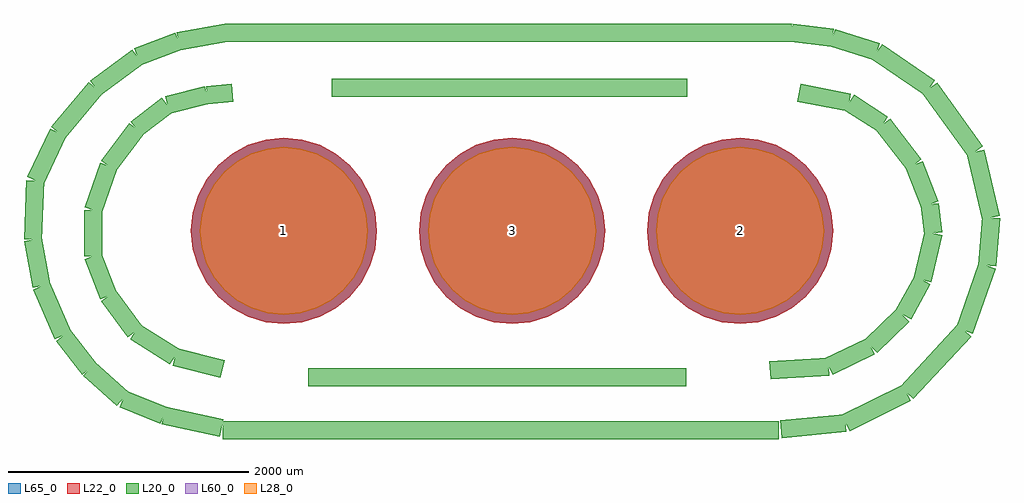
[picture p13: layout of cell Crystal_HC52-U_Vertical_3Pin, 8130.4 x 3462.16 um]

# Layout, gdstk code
import gdstk
lib = gdstk.Library(unit=1e-6, precision=1e-09)
def P(c, l, *ps):  # polygons
    for p in ps: c.add(gdstk.Polygon(p, *l))
L20_0 = (20, 0)
L22_0 = (22, 0)
L28_0 = (28, 0)
L60_0 = (60, 0)
L65_0 = (65, 0)

crystal_hc52_u_vertical_ = lib.new_cell('Crystal_HC52-U_Vertical_3Pin')
P(crystal_hc52_u_vertical_, L22_0, [(774.77,0),(759.883,151.15),(715.794,296.492),(644.198,430.439),(547.845,547.845),(430.439,644.198),(296.492,715.794),(151.15,759.883),(0,774.77),(-151.15,759.883),(-296.492,715.794),(-430.439,644.198),(-547.845,547.845),(-644.198,430.439),(-715.794,296.492),(-759.883,151.15),(-774.77,0),(-759.883,-151.15),(-715.794,-296.492),(-644.198,-430.439),(-547.845,-547.845),(-430.439,-644.198),(-296.492,-715.794),(-151.15,-759.883),(0,-774.77),(151.15,-759.883),(296.492,-715.794),(430.439,-644.198),(547.845,-547.845),(644.198,-430.439),(715.794,-296.492),(759.883,-151.15)],
  [(2674.69,0),(2659.803,151.15),(2615.714,296.492),(2544.118,430.439),(2447.765,547.845),(2330.359,644.198),(2196.412,715.794),(2051.07,759.883),(1899.92,774.77),(1748.77,759.883),(1603.428,715.794),(1469.481,644.198),(1352.075,547.845),(1255.722,430.439),(1184.126,296.492),(1140.037,151.15),(1125.15,0),(1140.037,-151.15),(1184.126,-296.492),(1255.722,-430.439),(1352.075,-547.845),(1469.481,-644.198),(1603.428,-715.794),(1748.77,-759.883),(1899.92,-774.77),(2051.07,-759.883),(2196.412,-715.794),(2330.359,-644.198),(2447.765,-547.845),(2544.118,-430.439),(2615.714,-296.492),(2659.803,-151.15)],
  [(-1125.15,0),(-1140.037,151.15),(-1184.126,296.492),(-1255.722,430.439),(-1352.075,547.845),(-1469.481,644.198),(-1603.428,715.794),(-1748.77,759.883),(-1899.92,774.77),(-2051.07,759.883),(-2196.412,715.794),(-2330.359,644.198),(-2447.765,547.845),(-2544.118,430.439),(-2615.714,296.492),(-2659.803,151.15),(-2674.69,0),(-2659.803,-151.15),(-2615.714,-296.492),(-2544.118,-430.439),(-2447.765,-547.845),(-2330.359,-644.198),(-2196.412,-715.794),(-2051.07,-759.883),(-1899.92,-774.77),(-1748.77,-759.883),(-1603.428,-715.794),(-1469.481,-644.198),(-1352.075,-547.845),(-1255.722,-430.439),(-1184.126,-296.492),(-1140.037,-151.15)])
P(crystal_hc52_u_vertical_, L28_0, [(699.77,0),(686.324,136.518),(646.503,267.79),(581.837,388.771),(494.812,494.812),(388.771,581.837),(267.79,646.503),(136.518,686.324),(0,699.77),(-136.518,686.324),(-267.79,646.503),(-388.771,581.837),(-494.812,494.812),(-581.837,388.771),(-646.503,267.79),(-686.324,136.518),(-699.77,0),(-686.324,-136.518),(-646.503,-267.79),(-581.837,-388.771),(-494.812,-494.812),(-388.771,-581.837),(-267.79,-646.503),(-136.518,-686.324),(0,-699.77),(136.518,-686.324),(267.79,-646.503),(388.771,-581.837),(494.812,-494.812),(581.837,-388.771),(646.503,-267.79),(686.324,-136.518)],
  [(2599.69,0),(2586.244,136.518),(2546.423,267.79),(2481.757,388.771),(2394.732,494.812),(2288.691,581.837),(2167.71,646.503),(2036.438,686.324),(1899.92,699.77),(1763.402,686.324),(1632.13,646.503),(1511.149,581.837),(1405.108,494.812),(1318.083,388.771),(1253.417,267.79),(1213.596,136.518),(1200.15,0),(1213.596,-136.518),(1253.417,-267.79),(1318.083,-388.771),(1405.108,-494.812),(1511.149,-581.837),(1632.13,-646.503),(1763.402,-686.324),(1899.92,-699.77),(2036.438,-686.324),(2167.71,-646.503),(2288.691,-581.837),(2394.732,-494.812),(2481.757,-388.771),(2546.423,-267.79),(2586.244,-136.518)],
  [(-1200.15,0),(-1213.596,136.518),(-1253.417,267.79),(-1318.083,388.771),(-1405.108,494.812),(-1511.149,581.837),(-1632.13,646.503),(-1763.402,686.324),(-1899.92,699.77),(-2036.438,686.324),(-2167.71,646.503),(-2288.691,581.837),(-2394.732,494.812),(-2481.757,388.771),(-2546.423,267.79),(-2586.244,136.518),(-2599.69,0),(-2586.244,-136.518),(-2546.423,-267.79),(-2481.757,-388.771),(-2394.732,-494.812),(-2288.691,-581.837),(-2167.71,-646.503),(-2036.438,-686.324),(-1899.92,-699.77),(-1763.402,-686.324),(-1632.13,-646.503),(-1511.149,-581.837),(-1405.108,-494.812),(-1318.083,-388.771),(-1253.417,-267.79),(-1213.596,-136.518)])
P(crystal_hc52_u_vertical_, L60_0, [(699.77,0),(686.324,136.518),(646.503,267.79),(581.837,388.771),(494.812,494.812),(388.771,581.837),(267.79,646.503),(136.518,686.324),(0,699.77),(-136.518,686.324),(-267.79,646.503),(-388.771,581.837),(-494.812,494.812),(-581.837,388.771),(-646.503,267.79),(-686.324,136.518),(-699.77,0),(-686.324,-136.518),(-646.503,-267.79),(-581.837,-388.771),(-494.812,-494.812),(-388.771,-581.837),(-267.79,-646.503),(-136.518,-686.324),(0,-699.77),(136.518,-686.324),(267.79,-646.503),(388.771,-581.837),(494.812,-494.812),(581.837,-388.771),(646.503,-267.79),(686.324,-136.518)],
  [(2599.69,0),(2586.244,136.518),(2546.423,267.79),(2481.757,388.771),(2394.732,494.812),(2288.691,581.837),(2167.71,646.503),(2036.438,686.324),(1899.92,699.77),(1763.402,686.324),(1632.13,646.503),(1511.149,581.837),(1405.108,494.812),(1318.083,388.771),(1253.417,267.79),(1213.596,136.518),(1200.15,0),(1213.596,-136.518),(1253.417,-267.79),(1318.083,-388.771),(1405.108,-494.812),(1511.149,-581.837),(1632.13,-646.503),(1763.402,-686.324),(1899.92,-699.77),(2036.438,-686.324),(2167.71,-646.503),(2288.691,-581.837),(2394.732,-494.812),(2481.757,-388.771),(2546.423,-267.79),(2586.244,-136.518)],
  [(-1200.15,0),(-1213.596,136.518),(-1253.417,267.79),(-1318.083,388.771),(-1405.108,494.812),(-1511.149,581.837),(-1632.13,646.503),(-1763.402,686.324),(-1899.92,699.77),(-2036.438,686.324),(-2167.71,646.503),(-2288.691,581.837),(-2394.732,494.812),(-2481.757,388.771),(-2546.423,267.79),(-2586.244,136.518),(-2599.69,0),(-2586.244,-136.518),(-2546.423,-267.79),(-2481.757,-388.771),(-2394.732,-494.812),(-2288.691,-581.837),(-2167.71,-646.503),(-2036.438,-686.324),(-1899.92,-699.77),(-1763.402,-686.324),(-1632.13,-646.503),(-1511.149,-581.837),(-1405.108,-494.812),(-1318.083,-388.771),(-1253.417,-267.79),(-1213.596,-136.518)])
P(crystal_hc52_u_vertical_, L65_0, [(774.77,0),(759.883,151.15),(715.794,296.492),(644.198,430.439),(547.845,547.845),(430.439,644.198),(296.492,715.794),(151.15,759.883),(0,774.77),(-151.15,759.883),(-296.492,715.794),(-430.439,644.198),(-547.845,547.845),(-644.198,430.439),(-715.794,296.492),(-759.883,151.15),(-774.77,0),(-759.883,-151.15),(-715.794,-296.492),(-644.198,-430.439),(-547.845,-547.845),(-430.439,-644.198),(-296.492,-715.794),(-151.15,-759.883),(0,-774.77),(151.15,-759.883),(296.492,-715.794),(430.439,-644.198),(547.845,-547.845),(644.198,-430.439),(715.794,-296.492),(759.883,-151.15)],
  [(2674.69,0),(2659.803,151.15),(2615.714,296.492),(2544.118,430.439),(2447.765,547.845),(2330.359,644.198),(2196.412,715.794),(2051.07,759.883),(1899.92,774.77),(1748.77,759.883),(1603.428,715.794),(1469.481,644.198),(1352.075,547.845),(1255.722,430.439),(1184.126,296.492),(1140.037,151.15),(1125.15,0),(1140.037,-151.15),(1184.126,-296.492),(1255.722,-430.439),(1352.075,-547.845),(1469.481,-644.198),(1603.428,-715.794),(1748.77,-759.883),(1899.92,-774.77),(2051.07,-759.883),(2196.412,-715.794),(2330.359,-644.198),(2447.765,-547.845),(2544.118,-430.439),(2615.714,-296.492),(2659.803,-151.15)],
  [(-1125.15,0),(-1140.037,151.15),(-1184.126,296.492),(-1255.722,430.439),(-1352.075,547.845),(-1469.481,644.198),(-1603.428,715.794),(-1748.77,759.883),(-1899.92,774.77),(-2051.07,759.883),(-2196.412,715.794),(-2330.359,644.198),(-2447.765,547.845),(-2544.118,430.439),(-2615.714,296.492),(-2659.803,151.15),(-2674.69,0),(-2659.803,-151.15),(-2615.714,-296.492),(-2544.118,-430.439),(-2447.765,-547.845),(-2330.359,-644.198),(-2196.412,-715.794),(-2051.07,-759.883),(-1899.92,-774.77),(-1748.77,-759.883),(-1603.428,-715.794),(-1469.481,-644.198),(-1352.075,-547.845),(-1255.722,-430.439),(-1184.126,-296.492),(-1140.037,-151.15)])
crystal_hc52_u_vertical_.add(gdstk.FlexPath([(-2778.76,1579.88),(-2379.98,1651)], 149.998, ends="flush", simple_path=True, layer=20, datatype=0))  # L20_0
crystal_hc52_u_vertical_.add(gdstk.FlexPath([(-3119.12,1450.34),(-2778.76,1579.88)], 149.998, ends="flush", simple_path=True, layer=20, datatype=0))  # L20_0
crystal_hc52_u_vertical_.add(gdstk.FlexPath([(-3469.64,1191.26),(-3119.12,1450.34)], 149.998, ends="flush", simple_path=True, layer=20, datatype=0))  # L20_0
crystal_hc52_u_vertical_.add(gdstk.FlexPath([(-3779.52,820.42),(-3469.64,1191.26)], 149.998, ends="flush", simple_path=True, layer=20, datatype=0))  # L20_0
crystal_hc52_u_vertical_.add(gdstk.FlexPath([(-3970.02,419.1),(-3779.52,820.42)], 149.998, ends="flush", simple_path=True, layer=20, datatype=0))  # L20_0
crystal_hc52_u_vertical_.add(gdstk.FlexPath([(-3990.34,-71.12),(-3970.02,419.1)], 149.998, ends="flush", simple_path=True, layer=20, datatype=0))  # L20_0
crystal_hc52_u_vertical_.add(gdstk.FlexPath([(-3919.22,-459.74),(-3990.34,-71.12)], 149.998, ends="flush", simple_path=True, layer=20, datatype=0))  # L20_0
crystal_hc52_u_vertical_.add(gdstk.FlexPath([(-3738.88,-871.22),(-3919.22,-459.74)], 149.998, ends="flush", simple_path=True, layer=20, datatype=0))  # L20_0
crystal_hc52_u_vertical_.add(gdstk.FlexPath([(-3520.44,-1150.62),(-3738.88,-871.22)], 149.998, ends="flush", simple_path=True, layer=20, datatype=0))  # L20_0
crystal_hc52_u_vertical_.add(gdstk.FlexPath([(-3241.04,-1399.54),(-3520.44,-1150.62)], 149.998, ends="flush", simple_path=True, layer=20, datatype=0))  # L20_0
crystal_hc52_u_vertical_.add(gdstk.FlexPath([(-2900.68,-1539.24),(-3241.04,-1399.54)], 149.998, ends="flush", simple_path=True, layer=20, datatype=0))  # L20_0
crystal_hc52_u_vertical_.add(gdstk.FlexPath([(-2420.62,-1640.84),(-2900.68,-1539.24)], 149.998, ends="flush", simple_path=True, layer=20, datatype=0))  # L20_0
crystal_hc52_u_vertical_.add(gdstk.FlexPath([(2778.76,-1600.2),(2240.28,-1651)], 149.998, ends="flush", simple_path=True, layer=20, datatype=0))  # L20_0
crystal_hc52_u_vertical_.add(gdstk.FlexPath([(3289.3,-1348.74),(2778.76,-1600.2)], 149.998, ends="flush", simple_path=True, layer=20, datatype=0))  # L20_0
crystal_hc52_u_vertical_.add(gdstk.FlexPath([(3769.36,-830.58),(3289.3,-1348.74)], 149.998, ends="flush", simple_path=True, layer=20, datatype=0))  # L20_0
crystal_hc52_u_vertical_.add(gdstk.FlexPath([(3959.86,-289.56),(3769.36,-830.58)], 149.998, ends="flush", simple_path=True, layer=20, datatype=0))  # L20_0
crystal_hc52_u_vertical_.add(gdstk.FlexPath([(3990.34,109.22),(3959.86,-289.56)], 149.998, ends="flush", simple_path=True, layer=20, datatype=0))  # L20_0
crystal_hc52_u_vertical_.add(gdstk.FlexPath([(3860.8,660.4),(3990.34,109.22)], 149.998, ends="flush", simple_path=True, layer=20, datatype=0))  # L20_0
crystal_hc52_u_vertical_.add(gdstk.FlexPath([(3479.8,1191.26),(3860.8,660.4)], 149.998, ends="flush", simple_path=True, layer=20, datatype=0))  # L20_0
crystal_hc52_u_vertical_.add(gdstk.FlexPath([(3040.38,1490.98),(3479.8,1191.26)], 149.998, ends="flush", simple_path=True, layer=20, datatype=0))  # L20_0
crystal_hc52_u_vertical_.add(gdstk.FlexPath([(2669.54,1610.36),(3040.38,1490.98)], 149.998, ends="flush", simple_path=True, layer=20, datatype=0))  # L20_0
crystal_hc52_u_vertical_.add(gdstk.FlexPath([(2329.18,1651),(2669.54,1610.36)], 149.998, ends="flush", simple_path=True, layer=20, datatype=0))  # L20_0
crystal_hc52_u_vertical_.add(gdstk.FlexPath([(-2390.14,1651),(2329.18,1651)], 149.998, ends="flush", simple_path=True, layer=20, datatype=0))  # L20_0
crystal_hc52_u_vertical_.add(gdstk.FlexPath([(-2540,1130.3),(-2329.18,1150.62)], 149.998, ends="flush", simple_path=True, layer=20, datatype=0))  # L20_0
crystal_hc52_u_vertical_.add(gdstk.FlexPath([(-2870.2,1049.02),(-2540,1130.3)], 149.998, ends="flush", simple_path=True, layer=20, datatype=0))  # L20_0
crystal_hc52_u_vertical_.add(gdstk.FlexPath([(-3129.28,850.9),(-2870.2,1049.02)], 149.998, ends="flush", simple_path=True, layer=20, datatype=0))  # L20_0
crystal_hc52_u_vertical_.add(gdstk.FlexPath([(-3360.42,541.02),(-3129.28,850.9)], 149.998, ends="flush", simple_path=True, layer=20, datatype=0))  # L20_0
crystal_hc52_u_vertical_.add(gdstk.FlexPath([(-3489.96,170.18),(-3360.42,541.02)], 149.998, ends="flush", simple_path=True, layer=20, datatype=0))  # L20_0
crystal_hc52_u_vertical_.add(gdstk.FlexPath([(-3489.96,-210.82),(-3489.96,170.18)], 149.998, ends="flush", simple_path=True, layer=20, datatype=0))  # L20_0
crystal_hc52_u_vertical_.add(gdstk.FlexPath([(-3360.42,-541.02),(-3489.96,-210.82)], 149.998, ends="flush", simple_path=True, layer=20, datatype=0))  # L20_0
crystal_hc52_u_vertical_.add(gdstk.FlexPath([(-3139.44,-840.74),(-3360.42,-541.02)], 149.998, ends="flush", simple_path=True, layer=20, datatype=0))  # L20_0
crystal_hc52_u_vertical_.add(gdstk.FlexPath([(-2809.24,-1049.02),(-3139.44,-840.74)], 149.998, ends="flush", simple_path=True, layer=20, datatype=0))  # L20_0
crystal_hc52_u_vertical_.add(gdstk.FlexPath([(-2410.46,-1150.62),(-2809.24,-1049.02)], 149.998, ends="flush", simple_path=True, layer=20, datatype=0))  # L20_0
crystal_hc52_u_vertical_.add(gdstk.FlexPath([(2639.06,-1130.3),(2148.84,-1160.78)], 149.998, ends="flush", simple_path=True, layer=20, datatype=0))  # L20_0
crystal_hc52_u_vertical_.add(gdstk.FlexPath([(2989.58,-960.12),(2639.06,-1130.3)], 149.998, ends="flush", simple_path=True, layer=20, datatype=0))  # L20_0
crystal_hc52_u_vertical_.add(gdstk.FlexPath([(3258.82,-701.04),(2989.58,-960.12)], 149.998, ends="flush", simple_path=True, layer=20, datatype=0))  # L20_0
crystal_hc52_u_vertical_.add(gdstk.FlexPath([(3418.84,-408.94),(3258.82,-701.04)], 149.998, ends="flush", simple_path=True, layer=20, datatype=0))  # L20_0
crystal_hc52_u_vertical_.add(gdstk.FlexPath([(3510.28,-20.32),(3418.84,-408.94)], 149.998, ends="flush", simple_path=True, layer=20, datatype=0))  # L20_0
crystal_hc52_u_vertical_.add(gdstk.FlexPath([(3479.8,220.98),(3510.28,-20.32)], 149.998, ends="flush", simple_path=True, layer=20, datatype=0))  # L20_0
crystal_hc52_u_vertical_.add(gdstk.FlexPath([(3350.26,551.18),(3479.8,220.98)], 149.998, ends="flush", simple_path=True, layer=20, datatype=0))  # L20_0
crystal_hc52_u_vertical_.add(gdstk.FlexPath([(3091.18,889),(3350.26,551.18)], 149.998, ends="flush", simple_path=True, layer=20, datatype=0))  # L20_0
crystal_hc52_u_vertical_.add(gdstk.FlexPath([(2809.24,1069.34),(3091.18,889)], 149.998, ends="flush", simple_path=True, layer=20, datatype=0))  # L20_0
crystal_hc52_u_vertical_.add(gdstk.FlexPath([(2390.14,1150.62),(2809.24,1069.34)], 149.998, ends="flush", simple_path=True, layer=20, datatype=0))  # L20_0
crystal_hc52_u_vertical_.add(gdstk.FlexPath([(-1699.26,-1219.2),(1450.34,-1219.2)], 149.998, ends="flush", simple_path=True, layer=20, datatype=0))  # L20_0
crystal_hc52_u_vertical_.add(gdstk.FlexPath([(2219.96,-1661.16),(-2410.46,-1661.16)], 149.998, ends="flush", simple_path=True, layer=20, datatype=0))  # L20_0
crystal_hc52_u_vertical_.add(gdstk.FlexPath([(1460.5,1191.26),(-1501.14,1191.26)], 149.998, ends="flush", simple_path=True, layer=20, datatype=0))  # L20_0
crystal_hc52_u_vertical_.add(gdstk.Label('3', (0,0), layer=28, texttype=0))
crystal_hc52_u_vertical_.add(gdstk.Label('2', (1899.92,0), layer=28, texttype=0))
crystal_hc52_u_vertical_.add(gdstk.Label('1', (-1899.92,0), layer=28, texttype=0))
crystal_hc52_u_vertical_.add(gdstk.Label('type', (0,-3810), layer=9, texttype=0))
crystal_hc52_u_vertical_.add(gdstk.Label('devicename', (0,3810), layer=9, texttype=0))

lib.write_gds('Crystal_HC52-U_Vertical_3Pin.gds')
